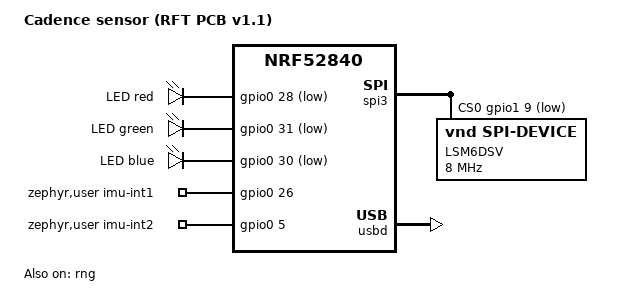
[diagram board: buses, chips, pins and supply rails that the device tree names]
// Copyright (c) 2026
// SPDX-License-Identifier: Apache-2.0
//
// Cadence sensor bring-up target: RideFormTracker PCB **v1.0** (MDBT50Q-1MV2 /
// nRF52840, LSM6DSV over SPI). The QSPI flash and the magnetometer that this
// PCB carries are deliberately left disabled — a crank-mounted cadence sensor
// will not have them, so nothing in the firmware may grow a dependency on them.
//
// v1.0 vs v1.1: only the RGB LED pins differ, see the leds node below.
//
// See HARDWARE.md for the full pin table.

/dts-v1/;
#include <nordic/nrf52840_qiaa.dtsi>
#include "cadence_rft-pinctrl.dtsi"

/ {
	model = "Cadence sensor (RFT PCB v1.1)";
	compatible = "nordic,cadence-rft";

	chosen {
		zephyr,sram = &sram0;
		zephyr,flash = &flash0;
		zephyr,code-partition = &slot0_partition;
		zephyr,console = &cdc_acm_uart0;      /* diagnostics console  */
		zephyr,uart-mcumgr = &cdc_acm_uart1;  /* SMP firmware updates */
		/* nrf52840.dtsi points this at &cryptocell, which we disable
		 * below — the plain RNG peripheral is a hardware TRNG too, and
		 * the BLE stack's entropy needs are modest. */
		zephyr,entropy = &rng;
	};

	/* RGB LED (D1, common anode → active LOW).
	 *
	 * ==> PCB v1.0 pin assignment. <==
	 *
	 * This is the ONLY thing that differs between RideFormTracker v1.0 and
	 * v1.1 as far as this firmware is concerned — SPI, both IMU interrupts,
	 * the crystal, USB and SWD are identical on both. For v1.1 swap in:
	 *
	 *     led_r  &gpio0 30      (pad 14)
	 *     led_g  &gpio0 29      (pad 10)
	 *     led_b  &gpio0 31      (pad 12)
	 *
	 * Note P0.28 is LED_R here but the magnetometer's I2C SDA on v1.1, so
	 * this file is genuinely revision-specific and not merely cosmetic.
	 * Getting it wrong costs only the LEDs though: nothing in the cadence
	 * path touches them, and they are lit only while USB is attached.
	 */
	leds {
		compatible = "gpio-leds";
		led_r: led_red {
			gpios = <&gpio0 28 GPIO_ACTIVE_LOW>;   /* pad 13 */
			label = "LED red";
		};
		led_g: led_green {
			gpios = <&gpio0 31 GPIO_ACTIVE_LOW>;   /* pad 12 */
			label = "LED green";
		};
		led_b: led_blue {
			gpios = <&gpio0 30 GPIO_ACTIVE_LOW>;   /* pad 14 */
			label = "LED blue";
		};
	};

	aliases {
		led-red = &led_r;
		led-green = &led_g;
		led-blue = &led_b;
		watchdog0 = &wdt0;
	};

	/* LSM6DSV interrupt lines, driven by our own driver (no Zephyr sensor
	 * driver — see src/lsm6dsv.c for why). INT1 carries wake-up, which is
	 * what pulls the sampler out of its idle state. */
	zephyr,user {
		imu-int1-gpios = <&gpio0 26 GPIO_ACTIVE_HIGH>;
		imu-int2-gpios = <&gpio0 5 GPIO_ACTIVE_HIGH>;
	};
};

/* DC/DC regulator: this runs off a battery on a crank arm and advertises
 * whenever the bike is moving, so the ~40% saving on radio TX current is the
 * single biggest battery win available. */
&reg1 {
	regulator-initial-mode = <NRF5X_REG_MODE_DCDC>;
};

&gpiote {
	status = "okay";
};

&rng {
	status = "okay";
};

&gpio0 {
	status = "okay";
};

&gpio1 {
	status = "okay";
};

/* SPIM3 — LSM6DSV 6-axis IMU. CS is P1.09 on this PCB. */
&spi3 {
	compatible = "nordic,nrf-spim";
	status = "okay";
	max-frequency = <DT_FREQ_M(8)>;
	pinctrl-0 = <&spi3_default>;
	pinctrl-1 = <&spi3_sleep>;
	pinctrl-names = "default", "sleep";
	cs-gpios = <&gpio1 9 GPIO_ACTIVE_LOW>;

	lsm6dsv: lsm6dsv@0 {
		compatible = "vnd,spi-device";
		reg = <0>;
		spi-max-frequency = <DT_FREQ_M(8)>;
		label = "LSM6DSV";
	};
};

/* Two USB CDC-ACM endpoints, deliberately split:
 *   uart0 = the human console (status, live cadence, raw accel)
 *   uart1 = mcumgr SMP, i.e. how new firmware gets in over the USB cable
 * Keeping them apart means a firmware upload never has to fight the console
 * for the same byte stream, and a chatty console can never corrupt an upload.
 */
zephyr_udc0: &usbd {
	compatible = "nordic,nrf-usbd";
	status = "okay";
	cdc_acm_uart0: cdc_acm_uart0 {
		compatible = "zephyr,cdc-acm-uart";
	};
	cdc_acm_uart1: cdc_acm_uart1 {
		compatible = "zephyr,cdc-acm-uart";
	};
};

/* Not populated / not used by the cadence sensor. */
&qspi {
	status = "disabled";
};

&i2c1 {
	status = "disabled";
};

&cryptocell {
	status = "disabled";
};

&nfct {
	status = "disabled";
};

/* Internal flash layout — MCUboot + two image slots + NVS.
 * Kept identical to the FindMyTag layout so a board can be moved between the
 * two firmwares without its NVS contents landing at a different address.
 * pm_static.yml pins the same numbers for the Partition Manager. */
&flash0 {
	partitions {
		compatible = "fixed-partitions";
		#address-cells = <1>;
		#size-cells = <1>;

		boot_partition: partition@0 {
			label = "mcuboot";
			reg = <0x0 0x20000>; /* 128 KB */
		};
		slot0_partition: partition@20000 {
			label = "image-0";
			reg = <0x20000 0x68000>; /* 416 KB */
		};
		slot1_partition: partition@88000 {
			label = "image-1";
			reg = <0x88000 0x68000>; /* 416 KB */
		};
		storage_partition: partition@f0000 {
			label = "storage";
			reg = <0xf0000 0x10000>; /* 64 KB NVS */
		};
	};
};
